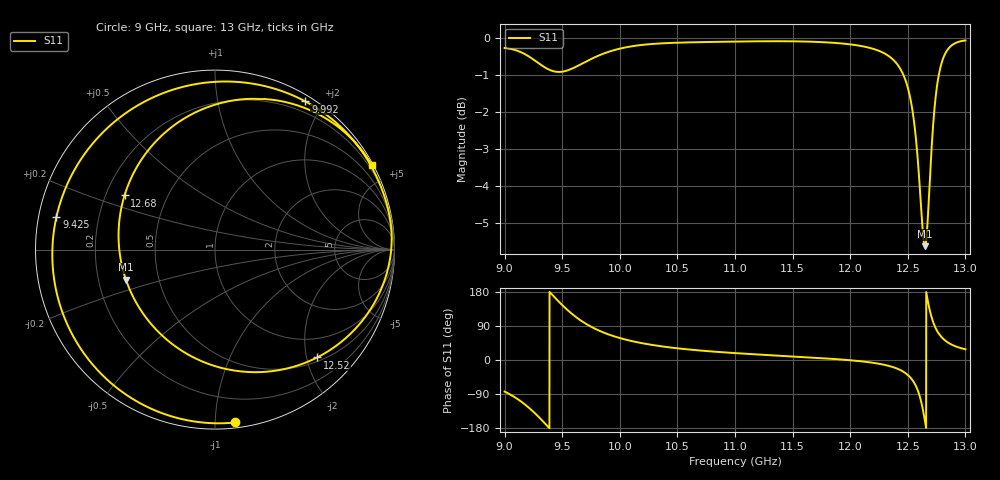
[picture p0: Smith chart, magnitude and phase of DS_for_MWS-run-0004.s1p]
! TOUCHSTONE file generated by CST DESIGN STUDIO
! Date and time: Tue Feb  4 12:44:41 2025
! Project name: C:\Work\MatlabApps\UnitCellOptimizationMatlab\CST\unitcell.cst
! Tree item: Tasks\Sweep1\SPara1\S-Parameters
! Header version: 2024
! Port assignment regex: !\s*Touchstone port\s*([0-9]+)\s*=\s*(CST MWS port|CST DES external port|CST DES block port)\s*(.+)\s* \(\"(.*)\"\)(\s*mode\s*([0-9]+))?.*
! Touchstone port assignment:
! Touchstone port 1 = CST DES external port 1 ("")
# GHz S MA R 50
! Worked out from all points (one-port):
!   4001 points, 9 GHz to 13 GHz, reference 50 ohm
!   lowest |S11| = -5.6 dB at 12.65 GHz (marker M1), VSWR 3.20, Z = 16 - j7.43 ohm
!   |S11| at or under -10 dB: nowhere
!   S11 on the Smith chart (normalised r, x): 9 GHz: 0.03, -1.12; 9.425 GHz: 0.05, +0.10; 9.992 GHz: 0.07, +1.78; 12.52 GHz: 0.58, -2.20; 12.68 GHz: 0.28, +0.26; 13 GHz: 0.06, +3.98
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9  0.9697 -83.3
9.116  0.9607 -103.8
9.21  0.9445 -125.8
9.327  0.9176 -160.0
9.425  0.902 168.3
9.5  0.9008 145.0
9.591  0.9103 120.1
9.69  0.9268 98.5
9.835  0.9498 75.5
9.992  0.967 58.6
10  0.9677 57.9
10.216  0.9798 43.1
10.5  0.9858 30.9
11  0.9892 18.2
11.5  0.99 9.4
12  0.9806 -0.7
12.346  0.9428 -16.4
12.5  0.8572 -39.6
12.523  0.8276 -46.6
12.597  0.6524 -89.1
12.623  0.5672 -119.1
12.649  0.524 -161.3
12.678  0.5876 149.1
12.714  0.741 105.4
12.754  0.863 76.8
12.797  0.9294 59.1
12.847  0.9653 46.4
13  0.9926 28.2
